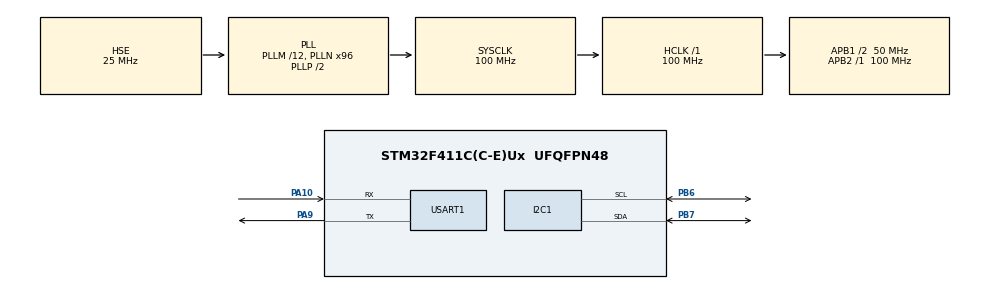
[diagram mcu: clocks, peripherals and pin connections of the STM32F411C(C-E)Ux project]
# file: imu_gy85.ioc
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I2C1.I2C_Mode=I2C_Fast
Mcu.Family=STM32F4
Mcu.Name=STM32F411C(C-E)Ux
Mcu.Package=UFQFPN48
NVIC.PriorityGroup=NVIC_PRIORITYGROUP_4
NVIC.TIM1_BRK_TIM9_IRQn=true\:0\:0\:false\:false\:true\:true\:true\:true
PA10.Mode=Asynchronous
PA10.Signal=USART1_RX
PA9.Mode=Asynchronous
PA9.Signal=USART1_TX
PB6.Mode=I2C
PB6.Signal=I2C1_SCL
PB7.Mode=I2C
PB7.Signal=I2C1_SDA
PH0\ -\ OSC_IN.Mode=HSE-External-Oscillator
PH0\ -\ OSC_IN.Signal=RCC_OSC_IN
PH1\ -\ OSC_OUT.Mode=HSE-External-Oscillator
PH1\ -\ OSC_OUT.Signal=RCC_OSC_OUT
ProjectManager.HeapSize=0x200
ProjectManager.StackSize=0x400
ProjectManager.TargetToolchain=STM32CubeIDE
RCC.48MHZClocksFreq_Value=50000000
RCC.AHBFreq_Value=100000000
RCC.APB1CLKDivider=RCC_HCLK_DIV2
RCC.APB1Freq_Value=50000000
RCC.APB1TimFreq_Value=100000000
RCC.APB2Freq_Value=100000000
RCC.APB2TimFreq_Value=100000000
RCC.CortexFreq_Value=100000000
RCC.HCLKFreq_Value=100000000
RCC.HSE_VALUE=25000000
RCC.HSI_VALUE=16000000
RCC.LSE_VALUE=32768
RCC.PLLM=12
RCC.PLLN=96
RCC.PLLSourceVirtual=RCC_PLLSOURCE_HSE
RCC.SYSCLKFreq_VALUE=100000000
RCC.SYSCLKSource=RCC_SYSCLKSOURCE_PLLCLK
RCC.VCOOutputFreq_Value=200000000
TIM9.Period=10000
TIM9.Prescaler=100-1
USART1.VirtualMode=VM_ASYNC
VP_TIM9_VS_ClockSourceINT.Mode=Internal
board=custom

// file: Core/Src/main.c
/* USER CODE BEGIN Header */
/**
  ******************************************************************************
  * @file           : main.c
  * @brief          : Main program body
  ******************************************************************************
  * @attention
  *
  * Copyright (c) 2025 STMicroelectronics.
  * All rights reserved.
  *
  * This software is licensed under terms that can be found in the LICENSE file
  * in the root directory of this software component.
  * If no LICENSE file comes with this software, it is provided AS-IS.
  *
  ******************************************************************************
  */
/* USER CODE END Header */
#include "main.h"

/* USER CODE BEGIN Includes */
#include "uart.h"
#include "GY85.h"
#include "timer.h"
#include "kalman.h"

#include "stdio.h"
#include "stdint.h"
#include "stdlib.h"
#include "string.h"
#include "math.h"
/* USER CODE END Includes */

I2C_HandleTypeDef hi2c1;

TIM_HandleTypeDef htim9;

UART_HandleTypeDef huart1;

/* USER CODE BEGIN PV */
char texto[100];
/* USER CODE END PV */

void SystemClock_Config(void);
static void MX_GPIO_Init(void);
static void MX_I2C1_Init(void);
static void MX_TIM9_Init(void);
static void MX_USART1_UART_Init(void);

int main(void)
{

  /* MCU Configuration--------------------------------------------------------*/

  /* Reset of all peripherals, Initializes the Flash interface and the Systick. */
  HAL_Init();

  /* Configure the system clock */
  SystemClock_Config();

  /* Initialize all configured peripherals */
  MX_GPIO_Init();
  MX_I2C1_Init();
  MX_TIM9_Init();
  MX_USART1_UART_Init();
  /* USER CODE BEGIN 2 */
  uartx_write_text(&huart1, "INICIANDO\r\n");
  if (GY85_Init() != 1)  uartx_write_text(&huart1, "SENSOR NO CONECTADO\r\n");
  else  uartx_write_text(&huart1, "CONECTADO\r\n");
  Kalman_Init(&kalman_roll_);
   Kalman_Init(&kalman_pitch_);
  tiempo_imu=uwTick;
  TIMERIMU_Init();
  /* USER CODE END 2 */

  /* Infinite loop */
  /* USER CODE BEGIN WHILE */
  while (1)
  {
/*
	   if (uwTick-tiempo_imu>=tiempo_muestreo)
	   {
	    GY85_Read_ace();
	    GY85_Read_giro();
	    GY85_Read_bruj();
	    GY85_Ace_angulos();
	 //   GY85_Giro_angulos();
	     Filtro_Complementario();
	     filtro_kalman();

	    //GY85_calcula_flotantes();
	// sprintf(texto,"AC_roll=%.1f    AC_pitch=%.1f\r\n\r\n",acel_pitch,acel_roll);
	   }
*/

	//  sprintf(texto,"%.1f,%1f,%.1f\r",acel_roll,compAngle_Roll,kalman_roll);

	  sprintf(texto,"roll=%.1f    pitch=%.1f\r\n\r\n",kalman_roll,kalman_pitch);

	  uartx_write_text(&huart1, texto);
	   HAL_Delay(800);

	    /* USER CODE END WHILE */

  }
}

void SystemClock_Config(void)
{
  RCC_OscInitTypeDef RCC_OscInitStruct = {0};
  RCC_ClkInitTypeDef RCC_ClkInitStruct = {0};

  /** Configure the main internal regulator output voltage
  */
  __HAL_RCC_PWR_CLK_ENABLE();
  __HAL_PWR_VOLTAGESCALING_CONFIG(PWR_REGULATOR_VOLTAGE_SCALE1);

  /** Initializes the RCC Oscillators according to the specified parameters
  * in the RCC_OscInitTypeDef structure.
  */
  RCC_OscInitStruct.OscillatorType = RCC_OSCILLATORTYPE_HSE;
  RCC_OscInitStruct.HSEState = RCC_HSE_ON;
  RCC_OscInitStruct.PLL.PLLState = RCC_PLL_ON;
  RCC_OscInitStruct.PLL.PLLSource = RCC_PLLSOURCE_HSE;
  RCC_OscInitStruct.PLL.PLLM = 12;
  RCC_OscInitStruct.PLL.PLLN = 96;
  RCC_OscInitStruct.PLL.PLLP = RCC_PLLP_DIV2;
  RCC_OscInitStruct.PLL.PLLQ = 4;
  if (HAL_RCC_OscConfig(&RCC_OscInitStruct) != HAL_OK)
  {
    Error_Handler();
  }

  /** Initializes the CPU, AHB and APB buses clocks
  */
  RCC_ClkInitStruct.ClockType = RCC_CLOCKTYPE_HCLK|RCC_CLOCKTYPE_SYSCLK
                              |RCC_CLOCKTYPE_PCLK1|RCC_CLOCKTYPE_PCLK2;
  RCC_ClkInitStruct.SYSCLKSource = RCC_SYSCLKSOURCE_PLLCLK;
  RCC_ClkInitStruct.AHBCLKDivider = RCC_SYSCLK_DIV1;
  RCC_ClkInitStruct.APB1CLKDivider = RCC_HCLK_DIV2;
  RCC_ClkInitStruct.APB2CLKDivider = RCC_HCLK_DIV1;

  if (HAL_RCC_ClockConfig(&RCC_ClkInitStruct, FLASH_LATENCY_3) != HAL_OK)
  {
    Error_Handler();
  }
}

static void MX_I2C1_Init(void)
{

  hi2c1.Instance = I2C1;
  hi2c1.Init.ClockSpeed = 400000;
  hi2c1.Init.DutyCycle = I2C_DUTYCYCLE_2;
  hi2c1.Init.OwnAddress1 = 0;
  hi2c1.Init.AddressingMode = I2C_ADDRESSINGMODE_7BIT;
  hi2c1.Init.DualAddressMode = I2C_DUALADDRESS_DISABLE;
  hi2c1.Init.OwnAddress2 = 0;
  hi2c1.Init.GeneralCallMode = I2C_GENERALCALL_DISABLE;
  hi2c1.Init.NoStretchMode = I2C_NOSTRETCH_DISABLE;
  if (HAL_I2C_Init(&hi2c1) != HAL_OK)
  {
    Error_Handler();
  }

}

static void MX_TIM9_Init(void)
{

  TIM_ClockConfigTypeDef sClockSourceConfig = {0};

  htim9.Instance = TIM9;
  htim9.Init.Prescaler = 100-1;
  htim9.Init.CounterMode = TIM_COUNTERMODE_UP;
  htim9.Init.Period = 10000;
  htim9.Init.ClockDivision = TIM_CLOCKDIVISION_DIV1;
  htim9.Init.AutoReloadPreload = TIM_AUTORELOAD_PRELOAD_DISABLE;
  if (HAL_TIM_Base_Init(&htim9) != HAL_OK)
  {
    Error_Handler();
  }
  sClockSourceConfig.ClockSource = TIM_CLOCKSOURCE_INTERNAL;
  if (HAL_TIM_ConfigClockSource(&htim9, &sClockSourceConfig) != HAL_OK)
  {
    Error_Handler();
  }

}

static void MX_USART1_UART_Init(void)
{

  huart1.Instance = USART1;
  huart1.Init.BaudRate = 115200;
  huart1.Init.WordLength = UART_WORDLENGTH_8B;
  huart1.Init.StopBits = UART_STOPBITS_1;
  huart1.Init.Parity = UART_PARITY_NONE;
  huart1.Init.Mode = UART_MODE_TX_RX;
  huart1.Init.HwFlowCtl = UART_HWCONTROL_NONE;
  huart1.Init.OverSampling = UART_OVERSAMPLING_16;
  if (HAL_UART_Init(&huart1) != HAL_OK)
  {
    Error_Handler();
  }

}

static void MX_GPIO_Init(void)
{

  /* GPIO Ports Clock Enable */
  __HAL_RCC_GPIOH_CLK_ENABLE();
  __HAL_RCC_GPIOA_CLK_ENABLE();
  __HAL_RCC_GPIOB_CLK_ENABLE();

}

void Error_Handler(void)
{
  __disable_irq();
  while (1)
  {
  }
}
